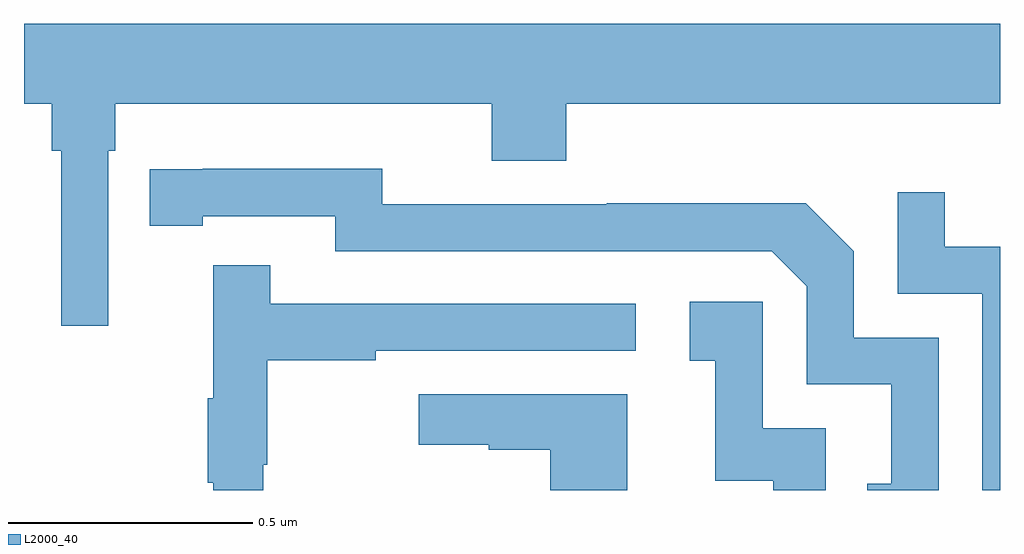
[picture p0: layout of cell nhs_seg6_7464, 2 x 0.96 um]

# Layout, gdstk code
import gdstk
lib = gdstk.Library(unit=1e-6, precision=1e-09)
def P(c, l, *ps):  # polygons
    for p in ps: c.add(gdstk.Polygon(p, *l))
L2000_40 = (2000, 40)

nhs_seg6_7464 = lib.new_cell('nhs_seg6_7464')
P(nhs_seg6_7464, L2000_40, [(208.173,991.196),(208.187,991.196),(208.187,991.292),(208.958,991.292),(208.958,991.175),(209.111,991.175),(209.111,991.292),(210,991.292),(210,991.456),(208,991.456),(208,991.292),(208.057,991.292),(208.057,991.196),(208.076,991.196),(208.076,990.837),(208.173,990.837)],
  [(209.874,990.813),(209.7,990.813),(209.7,990.99),(209.602,991.088),(209.194,991.088),(209.194,991.086),(208.734,991.086),(208.734,991.159),(208.366,991.159),(208.366,991.158),(208.258,991.158),(208.258,991.042),(208.366,991.042),(208.366,991.062),(208.638,991.062),(208.638,990.99),(209.532,990.99),(209.604,990.918),(209.604,990.717),(209.777,990.717),(209.777,990.513),(209.728,990.513),(209.728,990.5),(209.874,990.5)],
  [(210,990.999),(209.887,990.999),(209.887,991.111),(209.79,991.111),(209.79,990.903),(209.964,990.903),(209.964,990.5),(210,990.5)],
  [(208.49,990.552),(208.498,990.552),(208.498,990.766),(208.721,990.766),(208.721,990.786),(209.254,990.786),(209.254,990.882),(208.505,990.882),(208.505,990.961),(208.388,990.961),(208.388,990.689),(208.377,990.689),(208.377,990.515),(208.388,990.515),(208.388,990.5),(208.49,990.5)],
  [(209.643,990.627),(209.514,990.627),(209.514,990.886),(209.364,990.886),(209.364,990.765),(209.417,990.765),(209.417,990.519),(209.535,990.519),(209.535,990.5),(209.643,990.5)],
  [(209.236,990.697),(208.809,990.697),(208.809,990.593),(208.952,990.593),(208.952,990.583),(209.078,990.583),(209.078,990.5),(209.236,990.5)])

lib.write_gds('nhs_seg6_7464.gds')
